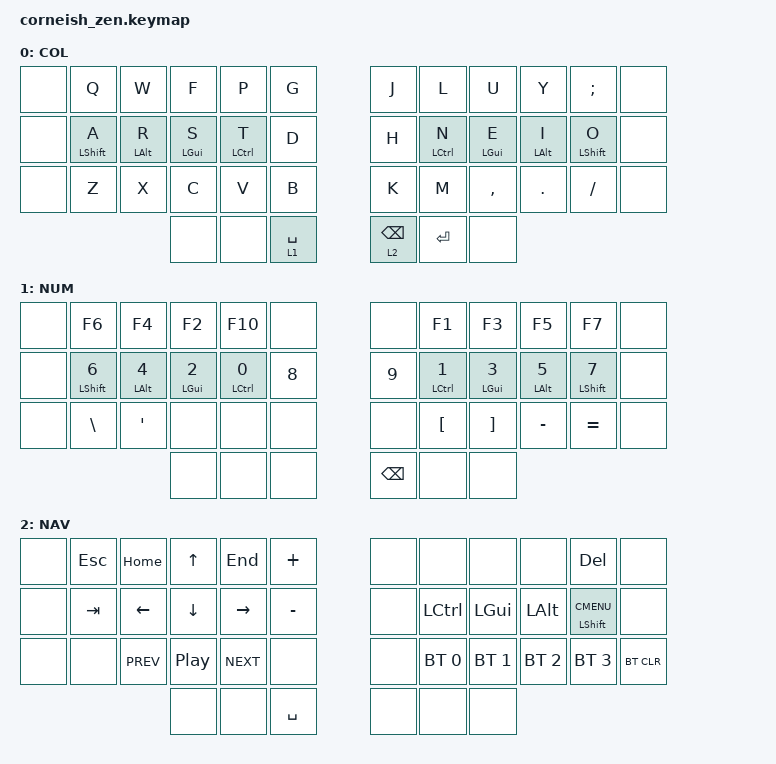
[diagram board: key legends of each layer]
#include <behaviors.dtsi>
#include <dt-bindings/zmk/keys.h>
#include <dt-bindings/zmk/bt.h>

/ {
  chosen {
    zmk,matrix_transform = &default_transform;
    //zmk,matrix_transform = &five_column_transform;
  };
};

/ { 

    behaviors {
        bhm: balanced_homerow_mods {
                compatible = "zmk,behavior-hold-tap";
                label = "HOMEROW_MODS";
                #binding-cells = <2>;
                tapping-term-ms = <200>;    // <---[[moderate duration]]
                quick-tap-ms = <0>;
                flavor = "balanced";
                bindings = <&kp>, <&kp>;
                };
        };

        keymap {
        compatible = "zmk,keymap";

                default_layer {
                        label = "COL";
                        bindings = <
                                &none   &kp Q 	        &kp W 		&kp F 		&kp P       	&kp G             	&kp J 		&kp L   	&kp U    	&kp Y           &kp SEMI 	&none
                                &none   &bhm LSHIFT A   &bhm LALT R 	&bhm LGUI S  &bhm LCTRL T          &kp D    	 	&kp H 		&bhm LCTRL N    &bhm LGUI E 	&bhm LALT I     &bhm LSHIFT O   &none
                                &none   &kp Z 	        &kp X 		&kp C 		&kp V       	&kp B             	&kp K 		&kp M   	&kp CMMA 	&kp DOT 	&kp FSLH 	&none
                                                                        &none 		&none	 	&lt 1 SPACE  		&lt 2 BSPC 	&kp ENTER	&none 
                        >;
                };

                first_layer {
                        label = "NUM";
                        bindings = <
                                &none   &kp F6          &kp F4          &kp F2	        &kp F10		&none                   &none           &kp F1  	&kp F3          &kp F5          &kp F7          &none
                                &none   &bhm LSHIFT N6	&bhm LALT N4   	&bhm LGUI N2 	&bhm LCTRL N0 	&kp N8       	        &kp N9          &bhm LCTRL N1 	&bhm LGUI N3 	&bhm LALT N5    &bhm LSHIFT N7 	&none
                                &none   &kp BSLH        &kp SQT  	&none    	&none      	&none        	        &none 	        &kp LBKT 	&kp RBKT  	&kp MINUS       &kp EQUAL       &none
                                                                        &none 		&none 		&none        	        &kp BSPC        &none 	        &none  
                        >;
                };

                second_layer {
                        label = "NAV";
                        bindings = < 
                                &none	&kp ESC	        &kp HOME   	&kp UP  	&kp END         &kp PLUS                &none           &none       	&none       	&none       	&kp DEL       	        &none
                                &none 	&kp TAB         &kp LEFT   	&kp DOWN	&kp RIGHT       &kp MINUS               &none           &kp LCTRL 	&kp LGUI    	&kp LALT    	&bhm LSHIFT K_CMENU     &none
                                &none 	&none	        &kp C_PREV 	&kp C_PP 	&kp C_NEXT      &none                   &none           &bt BT_SEL 0 	&bt BT_SEL 1 	&bt BT_SEL 2 	&bt BT_SEL 3            &bt BT_CLR
                                                                        &none 		&none           &kp SPACE               &none           &none 	        &none
                        >;
                };
        };
};
